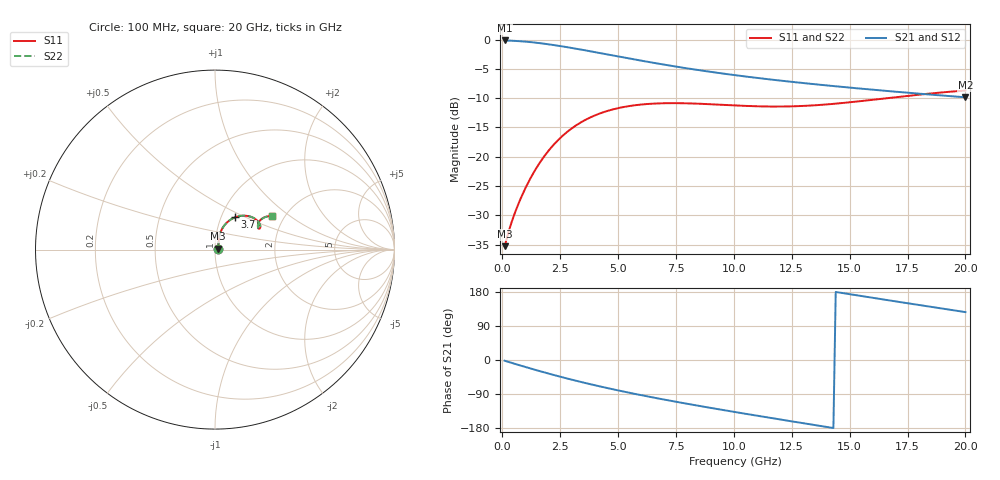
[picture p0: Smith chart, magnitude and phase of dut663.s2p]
! Touchstone file exported from HFSS 2024.1.0
!  File:  C:/UserFiles/LocalFiles/RDL_TSV_Batchsim/temp_RDL_TSV_663_1779812434.aedt
!  Generated:  12:38:46 AM May 27, 2026
!  Design:  RDL_TSV
!  Project:  temp_RDL_TSV_663_1779812434
!  Setup:  Setup1
!  Solution:  Sweep
! Variables:
!  dtsv = 7.5um
!  hbump = 3um
!  htsv = 68.98um
!  ldown = 282.5um
!  lrdl = 679.73um
!  p = 40
!  p1 = 47.54um
!  rhole = 10um
!  subl = 3566.42um
!  t = 450um
!  tdown = 3.04um
!  trdl = 4.59um
!  viad = 10um
!  wdown = 27.46um
!  wrdl = 18.36um
!  xbump = 18um
# GHz S MA R 50.000000
! Terminal data exported
! Port[1] = TM1_1_T1
! Port[2] = TM1_4_T1
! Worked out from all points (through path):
!   200 points, 100 MHz to 20 GHz, reference 50 ohm
!   highest |S21| = -0.14 dB at 100 MHz (marker M1); lowest = -9.8 dB at 20 GHz (marker M2)
!   group delay of S21, straight-line fit = 30.8 ps
!   lowest |S11| = -35.3 dB at 100 MHz (marker M3), VSWR 1.04, Z = 51.6 + j0.597 ohm
!   |S11| at or under -10 dB: start of sweep to 16.6 GHz
!   |S22| runs from -35.3 to -8.7 dB; largest |S21 - S12| = 1e-14
!   S11 on the Smith chart (normalised r, x): 100 MHz: 1.03, +0.01; 3.7 GHz: 1.16, +0.44; 20 GHz: 1.73, +0.74
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0.1  0.01725 19.6  0.9836 -1.9  0.9836 -1.9  0.01725 19.6
! Gamma 0 0 0 0
! Port Impedance 50 0 50 0
0.4  0.02755 48.3  0.9785 -7.5  0.9785 -7.5  0.02755 48.3
0.7  0.03975 61.0  0.9712 -13.0  0.9712 -13.0  0.03975 61.0
1.1  0.05923 69.3  0.9573 -20.3  0.9573 -20.3  0.05924 69.4
1.5  0.08184 72.3  0.9392 -27.3  0.9392 -27.3  0.08186 72.3
1.9  0.1065 72.2  0.9177 -34.2  0.9177 -34.2  0.1065 72.2
2.4  0.1382 69.6  0.8876 -42.5  0.8876 -42.5  0.1382 69.6
2.9  0.1688 65.6  0.8553 -50.4  0.8553 -50.4  0.169 65.6
3.5  0.202 60.0  0.8154 -59.5  0.8154 -59.5  0.2022 60.0
3.7  0.2119 58.0  0.8021 -62.4  0.8021 -62.4  0.2121 58.1
4.3  0.2376 52.4  0.7627 -70.9  0.7627 -70.9  0.2378 52.4
5  0.2599 46.2  0.7188 -80.2  0.7188 -80.2  0.2603 46.2
5.9  0.2778 39.3  0.6668 -91.6  0.6668 -91.6  0.2783 39.3
6.8  0.2857 33.8  0.6205 -102.3  0.6205 -102.3  0.2863 33.8
8.4  0.2841 27.4  0.5521 -120.1  0.5521 -120.1  0.2848 27.4
10.1  0.2739 25.2  0.4957 -137.8  0.4957 -137.8  0.2747 25.1
11.7  0.2683 26.6  0.4539 -154.0  0.4539 -154.0  0.269 26.5
13.4  0.2742 29.8  0.4178 -170.7  0.4178 -170.7  0.2747 29.7
15  0.2917 32.4  0.3893 173.7  0.3893 173.7  0.2919 32.3
16.7  0.3179 33.4  0.3632 157.4  0.3632 157.4  0.3179 33.2
18.3  0.3439 32.5  0.3417 142.2  0.3417 142.2  0.3437 32.4
20  0.3678 30.4  0.3218 126.4  0.3218 126.4  0.3674 30.3
